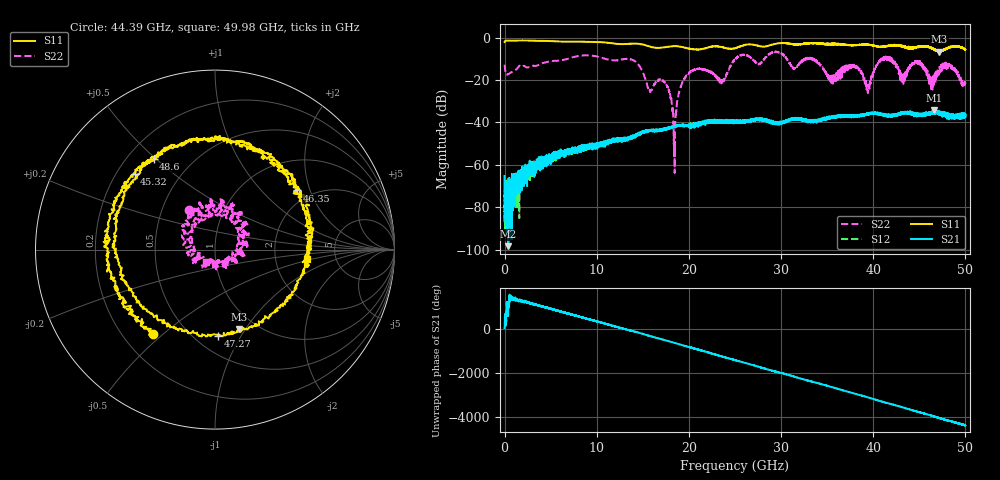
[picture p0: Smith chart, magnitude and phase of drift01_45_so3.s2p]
!Created with skrf (http://scikit-rf.org).
# Hz S RI R 50.0
!freq ReS11 ImS11 ReS21 ImS21 ReS12 ImS12 ReS22 ImS22
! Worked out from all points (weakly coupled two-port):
!   10001 points, 300 kHz to 50 GHz, reference 50 ohm
!   highest |S21| = -34.37 dB at 46.57 GHz (marker M1); lowest = -98.4 dB at 400.3 MHz (marker M2)
!   lowest |S11| = -6.7 dB at 47.17 GHz (marker M3), VSWR 2.72, Z = 41.4 - j46.7 ohm
!   |S11| at or under -10 dB: nowhere
!   |S22| runs from -63.9 to -6.6 dB; largest |S21 - S12| = 0.0038
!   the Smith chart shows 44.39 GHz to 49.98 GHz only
!   S11 on the Smith chart (normalised r, x): 44.39 GHz: 0.33, -0.46; 45.32 GHz: 0.27, +0.37; 46.35 GHz: 1.69, +1.63; 47.27 GHz: 0.64, -0.80; 48.6 GHz: 0.31, +0.49; 49.98 GHz: 3.06, -0.42
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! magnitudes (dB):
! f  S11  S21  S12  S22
! 300 kHz  -2.1  -65.3  -69.1  -12.8
! 400.3 MHz  -1.4  -98.4  -89.9  -17.2
! 8.335 GHz  -2.0  -53.3  -52.5  -8.5
! 16.67 GHz  -4.9  -43.6  -43.4  -20.0
! 17.74 GHz  -4.3  -43.1  -42.9  -23.7
! 18.42 GHz  -4.1  -42.0  -42.1  -52.1
! 19.9 GHz  -5.1  -41.5  -41.6  -17.2
! 23.59 GHz  -4.5  -40.3  -39.6  -20.3
! 25 GHz  -5.0  -39.4  -39.5  -10.4
! 33.34 GHz  -2.6  -39.6  -39.3  -9.9
! 39.35 GHz  -3.3  -36.0  -36.1  -22.6
! 41.67 GHz  -3.9  -36.6  -36.5  -9.6
! 43.18 GHz  -4.2  -35.7  -35.6  -18.9
! 44.39 GHz  -4.7  -35.7  -36.0  -11.6
! 45.32 GHz  -4.2  -36.0  -36.3  -13.7
! 46.35 GHz  -5.0  -35.6  -35.4  -20.4
! 46.57 GHz  -5.3  -34.4  -35.4  -21.5
! 47.17 GHz  -6.7  -35.2  -35.7  -14.4
! 47.27 GHz  -6.3  -35.6  -35.9  -16.4
! 48.6 GHz  -4.3  -37.1  -37.1  -14.6
! 49.98 GHz  -5.8  -36.2  -37.2  -21.2
! 50 GHz  -5.6  -36.3  -35.9  -21.5
